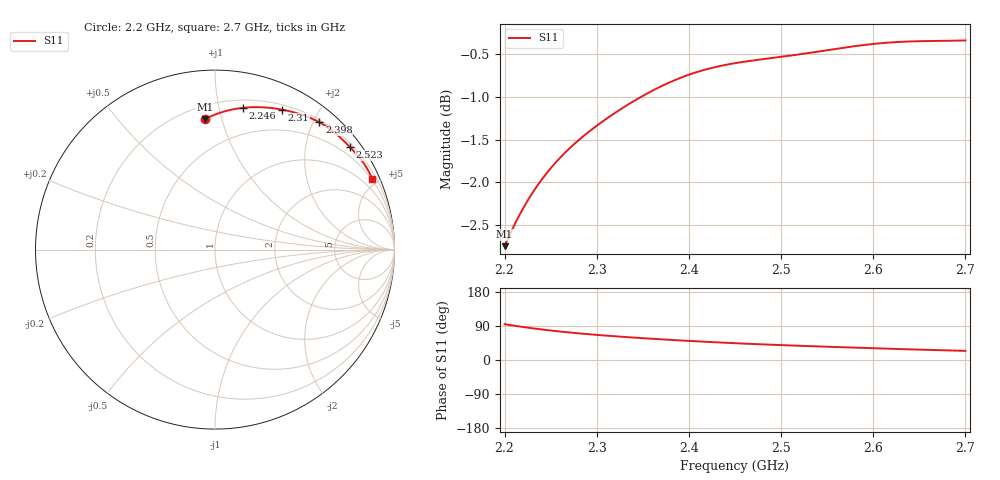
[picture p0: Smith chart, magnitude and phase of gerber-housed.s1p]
! PRELIMINARY bare PCB unless shell_eps > 0; see README.md
! L220 output ($1N324); all Gerber copper, components omitted (C216/L220/C217 not populated)
# Hz S RI R 50
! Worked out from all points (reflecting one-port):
!   501 points, 2.2 GHz to 2.7 GHz, reference 50 ohm
!   lowest |S11| = -2.7 dB at 2.2 GHz (marker M1), VSWR 6.38, Z = 14.2 + j44.2 ohm
!   phase of S11 starts at 94 deg and turns -70 deg over the sweep
!   S11 on the Smith chart (normalised r, x): 2.2 GHz: 0.28, +0.88; 2.246 GHz: 0.26, +1.18; 2.31 GHz: 0.25, +1.56; 2.398 GHz: 0.23, +2.09; 2.523 GHz: 0.28, +2.94; 2.7 GHz: 0.45, +4.64
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2.2e9  -0.0572 0.7267
2.202e9  -0.0474 0.7316
2.212e9  0.0012 0.7527
2.222e9  0.0485 0.7687
2.234e9  0.1029 0.7819
2.246e9  0.1542 0.7897
2.254e9  0.1866 0.7925
2.263e9  0.2212 0.7938
2.274e9  0.261 0.793
2.286e9  0.3015 0.7901
2.298e9  0.3392 0.7855
2.31e9  0.3745 0.7796
2.325e9  0.4157 0.7708
2.34e9  0.4541 0.7607
2.356e9  0.4926 0.7484
2.372e9  0.5286 0.7346
2.388e9  0.5621 0.7194
2.398e9  0.5818 0.7092
2.424e9  0.6281 0.6807
2.45e9  0.6676 0.6509
2.479e9  0.7045 0.6181
2.513e9  0.7412 0.582
2.523e9  0.7512 0.5718
2.575e9  0.7991 0.5196
2.608e9  0.8257 0.4854
2.638e9  0.8459 0.4538
2.667e9  0.862 0.4242
2.7e9  0.8774 0.3928
